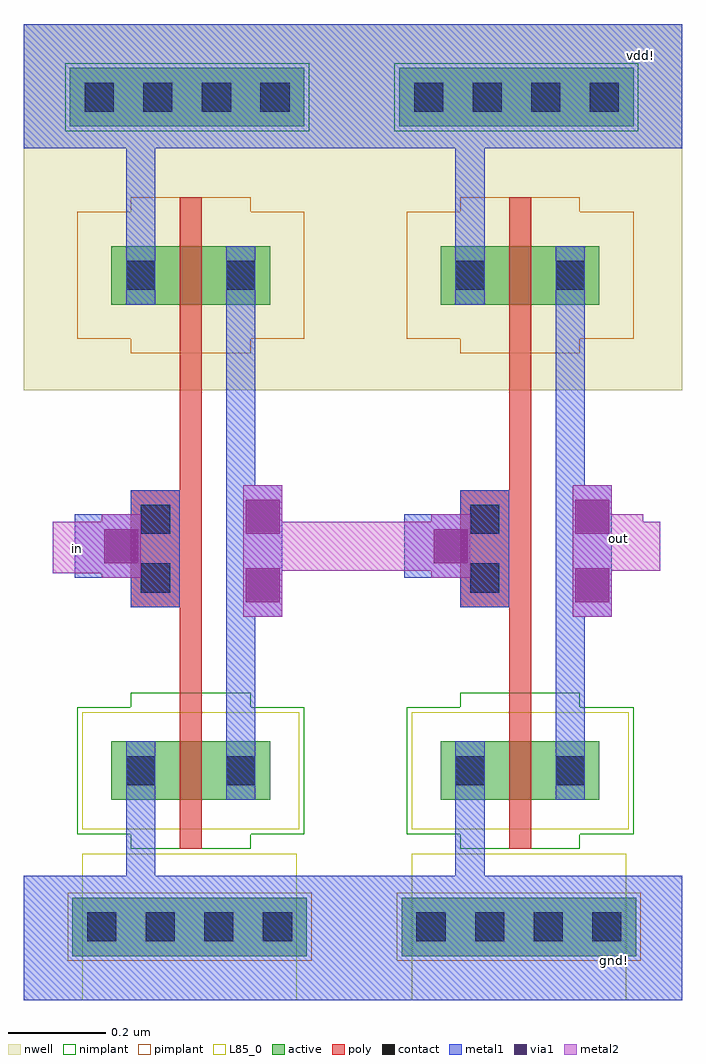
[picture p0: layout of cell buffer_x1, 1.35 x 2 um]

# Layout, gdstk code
import gdstk
lib = gdstk.Library(unit=1e-6, precision=5e-10)
def R(c, l, rs):  # rectangles x0, y0, x1, y1
    for r in rs: c.add(gdstk.rectangle(r[:2], r[2:], *l))
def A(c, l, x, y, w, h, nx, ny, dx, dy):  # array of equal rectangles
    R(c, l, [(x+i*dx, y+j*dy, x+i*dx+w, y+j*dy+h) for i in range(nx) for j in range(ny)])
active = (1, 0)
nwell = (2, 0)
poly = (3, 0)
nimplant = (4, 0)
pimplant = (5, 0)
contact = (6, 0)
metal1 = (7, 0)
via1 = (8, 0)
metal2 = (9, 0)
L85_0 = (85, 0)

nmos1v_cdns_757365051520 = lib.new_cell('nmos1v_CDNS_757365051520')
R(nmos1v_cdns_757365051520, active, [(-0.14,0,0,0.12), (0,0,0.045,0.12), (0.045,0,0.185,0.12)])
R(nmos1v_cdns_757365051520, poly, [(0,-0.1,0.045,-0.05), (0,-0.05,0.045,0), (0,0,0.045,0.12), (0,0.12,0.045,0.17), (0,0.17,0.045,0.22)])
R(nmos1v_cdns_757365051520, nimplant, [(-0.1,-0.1,0.145,0.22), (-0.21,-0.07,0.255,0.19)])
R(nmos1v_cdns_757365051520, contact, [(-0.11,0.03,-0.05,0.09), (0.095,0.03,0.155,0.09)])
R(nmos1v_cdns_757365051520, metal1, [(-0.11,0,-0.05,0.12), (0.095,0,0.155,0.12)])
R(nmos1v_cdns_757365051520, L85_0, [(-0.2,-0.06,0.245,0.18)])

pmos1v_cdns_757365051521 = lib.new_cell('pmos1v_CDNS_757365051521')
R(pmos1v_cdns_757365051521, active, [(-0.14,0,0,0.12), (0,0,0.045,0.12), (0.045,0,0.185,0.12)])
R(pmos1v_cdns_757365051521, nwell, [(-0.2,-0.06,0.245,0.18)])
R(pmos1v_cdns_757365051521, poly, [(0,-0.1,0.045,-0.05), (0,-0.05,0.045,0), (0,0,0.045,0.12), (0,0.12,0.045,0.17), (0,0.17,0.045,0.22)])
R(pmos1v_cdns_757365051521, pimplant, [(-0.1,-0.1,0.145,0.22), (-0.21,-0.07,0.255,0.19)])
R(pmos1v_cdns_757365051521, contact, [(-0.11,0.03,-0.05,0.09), (0.095,0.03,0.155,0.09)])
R(pmos1v_cdns_757365051521, metal1, [(-0.11,0,-0.05,0.12), (0.095,0,0.155,0.12)])

m2_m1_cdns_757365051520 = lib.new_cell('M2_M1_CDNS_757365051520')
R(m2_m1_cdns_757365051520, metal1, [(-0.04,-0.135,0.04,0.135)])
R(m2_m1_cdns_757365051520, via1, [(-0.035,-0.105,0.035,-0.035), (-0.035,0.035,0.035,0.105)])
R(m2_m1_cdns_757365051520, metal2, [(-0.04,-0.135,0.04,0.135)])

m1_psub_cdns_75736505152 = lib.new_cell('M1_PSUB_CDNS_757365051521')
R(m1_psub_cdns_75736505152, active, [(-0.24,-0.06,0.24,0.06)])
R(m1_psub_cdns_75736505152, pimplant, [(-0.25,-0.07,0.25,0.07)])
A(m1_psub_cdns_75736505152, contact, -0.21, -0.03, 0.06, 0.06, 4, 1, 0.12, 0)
R(m1_psub_cdns_75736505152, metal1, [(-0.21,-0.06,0.21,0.06)])
R(m1_psub_cdns_75736505152, L85_0, [(-0.22,-0.15,0.22,0.15)])

m1_po_cdns_757365051522 = lib.new_cell('M1_PO_CDNS_757365051522')
R(m1_po_cdns_757365051522, poly, [(-0.05,-0.12,0.05,0.12)])
R(m1_po_cdns_757365051522, contact, [(-0.03,-0.09,0.03,-0.03), (-0.03,0.03,0.03,0.09)])
R(m1_po_cdns_757365051522, metal1, [(-0.05,-0.12,0.05,0.12)])

m2_m1_cdns_757365051523 = lib.new_cell('M2_M1_CDNS_757365051523')
R(m2_m1_cdns_757365051523, metal1, [(-0.095,-0.065,0.095,0.065)])
R(m2_m1_cdns_757365051523, via1, [(-0.035,-0.035,0.035,0.035)])
R(m2_m1_cdns_757365051523, metal2, [(-0.04,-0.065,0.04,0.065)])

m1_nwell_cdns_7573650515 = lib.new_cell('M1_NWELL_CDNS_757365051524')
R(m1_nwell_cdns_7573650515, active, [(-0.24,-0.06,0.24,0.06)])
R(m1_nwell_cdns_7573650515, nwell, [(-0.27,-0.15,0.27,0.15)])
R(m1_nwell_cdns_7573650515, nimplant, [(-0.25,-0.07,0.25,0.07)])
A(m1_nwell_cdns_7573650515, contact, -0.21, -0.03, 0.06, 0.06, 4, 1, 0.12, 0)
R(m1_nwell_cdns_7573650515, metal1, [(-0.21,-0.06,0.21,0.06)])

inv_x1 = lib.new_cell('inv_x1')
R(inv_x1, nwell, [(0,1.25,0.675,2)])
R(inv_x1, metal1, [(0,0,0.675,0.255), (0.275,0.035,0.375,0.135), (0,1.745,0.675,2), (0.3,1.895,0.4,1.995)])
R(inv_x1, metal2, [(0.06,0.88,0.16,0.98), (0.53,0.88,0.63,0.98)])
inv_x1.add(gdstk.FlexPath([(0.3425,1.325),(0.3425,0.63)], 0.045, ends="flush", simple_path=True, layer=3, datatype=0))  # poly
inv_x1.add(gdstk.FlexPath([(0.24,1.545),(0.24,1.93)], 0.06, ends=(0, 0.07), simple_path=True, layer=7, datatype=0))  # metal1
inv_x1.add(gdstk.FlexPath([(0.24,0.41),(0.24,0.07)], 0.06, ends=(0, 0.07), simple_path=True, layer=7, datatype=0))  # metal1
inv_x1.add(gdstk.FlexPath([(0.445,1.425),(0.445,0.53)], 0.06, ends="flush", simple_path=True, layer=7, datatype=0))  # metal1
inv_x1.add(gdstk.Reference(nmos1v_cdns_757365051520, (0.32,0.41)))
inv_x1.add(gdstk.Reference(pmos1v_cdns_757365051521, (0.32,1.425)))
inv_x1.add(gdstk.Reference(m2_m1_cdns_757365051520, (0.49,0.92)))
inv_x1.add(gdstk.Reference(m1_psub_cdns_75736505152, (0.34,0.15)))
inv_x1.add(gdstk.Reference(m1_po_cdns_757365051522, (0.27,0.925)))
inv_x1.add(gdstk.Reference(m2_m1_cdns_757365051523, (0.2,0.93)))
inv_x1.add(gdstk.Reference(m1_nwell_cdns_7573650515, (0.335,1.85)))
inv_x1.add(gdstk.Label('vdd!', (0.35,1.945), layer=7, texttype=0))
inv_x1.add(gdstk.Label('gnd!', (0.325,0.085), layer=7, texttype=0))
inv_x1.add(gdstk.Label('Vin', (0.11,0.93), layer=9, texttype=0))
inv_x1.add(gdstk.Label('Vout', (0.58,0.93), layer=9, texttype=0))

buffer_x1 = lib.new_cell('buffer_x1')
R(buffer_x1, metal1, [(1.16,0.03,1.26,0.13), (1.215,1.885,1.315,1.985)])
R(buffer_x1, metal2, [(0.06,0.875,0.16,0.975), (1.17,0.895,1.27,0.995)])
buffer_x1.add(gdstk.FlexPath([(0.595,0.93),(0.775,0.93)], 0.1, ends="flush", simple_path=True, layer=9, datatype=0))  # metal2
buffer_x1.add(gdstk.Reference(inv_x1, (0.675,0)))
buffer_x1.add(gdstk.Reference(inv_x1, (0,0)))
buffer_x1.add(gdstk.Label('vdd!', (1.265,1.935), layer=7, texttype=0))
buffer_x1.add(gdstk.Label('gnd!', (1.21,0.08), layer=7, texttype=0))
buffer_x1.add(gdstk.Label('out', (1.22,0.945), layer=9, texttype=0))
buffer_x1.add(gdstk.Label('in', (0.11,0.925), layer=9, texttype=0))

lib.write_gds('buffer_x1.gds')
